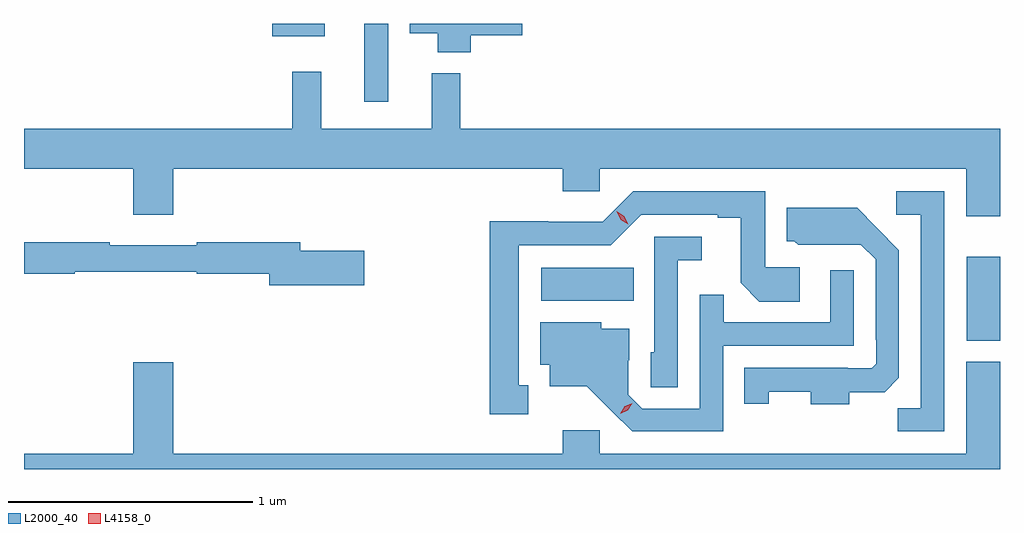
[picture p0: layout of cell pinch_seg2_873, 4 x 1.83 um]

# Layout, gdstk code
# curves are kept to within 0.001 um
import gdstk
lib = gdstk.Library(unit=1e-6, precision=1e-09)
def R(c, l, rs):  # rectangles x0, y0, x1, y1
    for r in rs: c.add(gdstk.rectangle(r[:2], r[2:], *l))
def P(c, l, *ps):  # polygons
    for p in ps: c.add(gdstk.Polygon(p, *l))
L2000_40 = (2000, 40)
L4158_0 = (4158, 0)

pinch_seg2_873 = lib.new_cell('pinch_seg2_873')
R(pinch_seg2_873, L2000_40, [(384.209,584.327,384.345,584.671), (382.464,584.492,382.844,584.626), (381.74,585.306,381.837,585.627), (381.362,585.575,381.577,585.627)])
P(pinch_seg2_873, L2000_40, [(382.175,585.58),(382.387,585.58),(382.387,585.627),(381.926,585.627),(381.926,585.587),(382.04,585.587),(382.04,585.509),(382.175,585.509)],
  [(384.345,585.196),(382.133,585.196),(382.133,585.424),(382.016,585.424),(382.016,585.196),(381.563,585.196),(381.563,585.43),(381.445,585.43),(381.445,585.196),(380.345,585.196),(380.345,585.032),(380.792,585.032),(380.792,584.844),(380.956,584.844),(380.956,585.032),(382.553,585.032),(382.553,584.939),(382.704,584.939),(382.704,585.032),(384.206,585.032),(384.206,584.838),(384.345,584.838)],
  [(382.411,584.145),(382.372,584.145),(382.372,584.718),(382.749,584.718),(382.875,584.844),(383.189,584.844),(383.189,584.832),(383.283,584.832),(383.283,584.564),(383.359,584.488),(383.524,584.488),(383.524,584.628),(383.382,584.628),(383.382,584.94),(382.842,584.94),(382.716,584.814),(382.494,584.814),(382.494,584.816),(382.254,584.816),(382.254,584.025),(382.411,584.025)],
  [(384.117,584.94),(383.919,584.94),(383.919,584.844),(384.021,584.844),(384.021,584.051),(383.926,584.051),(383.926,583.956),(384.117,583.956)],
  [(383.728,584.117),(383.872,584.117),(383.931,584.176),(383.931,584.698),(383.759,584.872),(383.471,584.872),(383.471,584.736),(383.502,584.736),(383.518,584.72),(383.775,584.721),(383.835,584.661),(383.835,584.332),(383.838,584.332),(383.838,584.232),(383.82,584.214),(383.72,584.214),(383.72,584.217),(383.296,584.217),(383.296,584.07),(383.397,584.07),(383.397,584.119),(383.57,584.119),(383.57,584.066),(383.728,584.066)],
  [(383.025,584.657),(383.122,584.657),(383.122,584.754),(382.929,584.754),(382.929,584.28),(382.914,584.28),(382.914,584.137),(383.025,584.137)],
  [(381.739,584.697),(381.478,584.697),(381.478,584.731),(381.052,584.731),(381.052,584.718),(380.696,584.718),(380.696,584.731),(380.345,584.731),(380.345,584.602),(380.554,584.602),(380.554,584.61),(381.054,584.61),(381.054,584.602),(381.35,584.602),(381.35,584.555),(381.739,584.555)],
  [(383.211,584.307),(383.745,584.307),(383.745,584.617),(383.649,584.617),(383.649,584.403),(383.213,584.403),(383.213,584.516),(383.115,584.516),(383.115,584.049),(382.878,584.049),(382.821,584.106),(382.821,584.248),(382.825,584.248),(382.825,584.377),(382.71,584.377),(382.71,584.404),(382.46,584.404),(382.46,584.228),(382.499,584.228),(382.499,584.141),(382.651,584.141),(382.838,583.956),(383.211,583.956)],
  [(384.345,584.242),(384.206,584.242),(384.206,583.864),(382.704,583.864),(382.704,583.96),(382.553,583.96),(382.553,583.864),(380.956,583.864),(380.956,584.239),(380.792,584.239),(380.792,583.864),(380.345,583.864),(380.345,583.8),(384.345,583.8)])
P(pinch_seg2_873, L4158_0, [(382.789,584.029),(382.789,584.029),(382.807,584.058),(382.838,584.072),(382.838,584.072),(382.838,584.072),(382.82,584.043),(382.789,584.029)],
  [(382.822,584.805),(382.791,584.824),(382.774,584.857),(382.774,584.857),(382.774,584.857),(382.805,584.838),(382.822,584.805),(382.822,584.805)])

lib.write_gds('pinch_seg2_873.gds')
